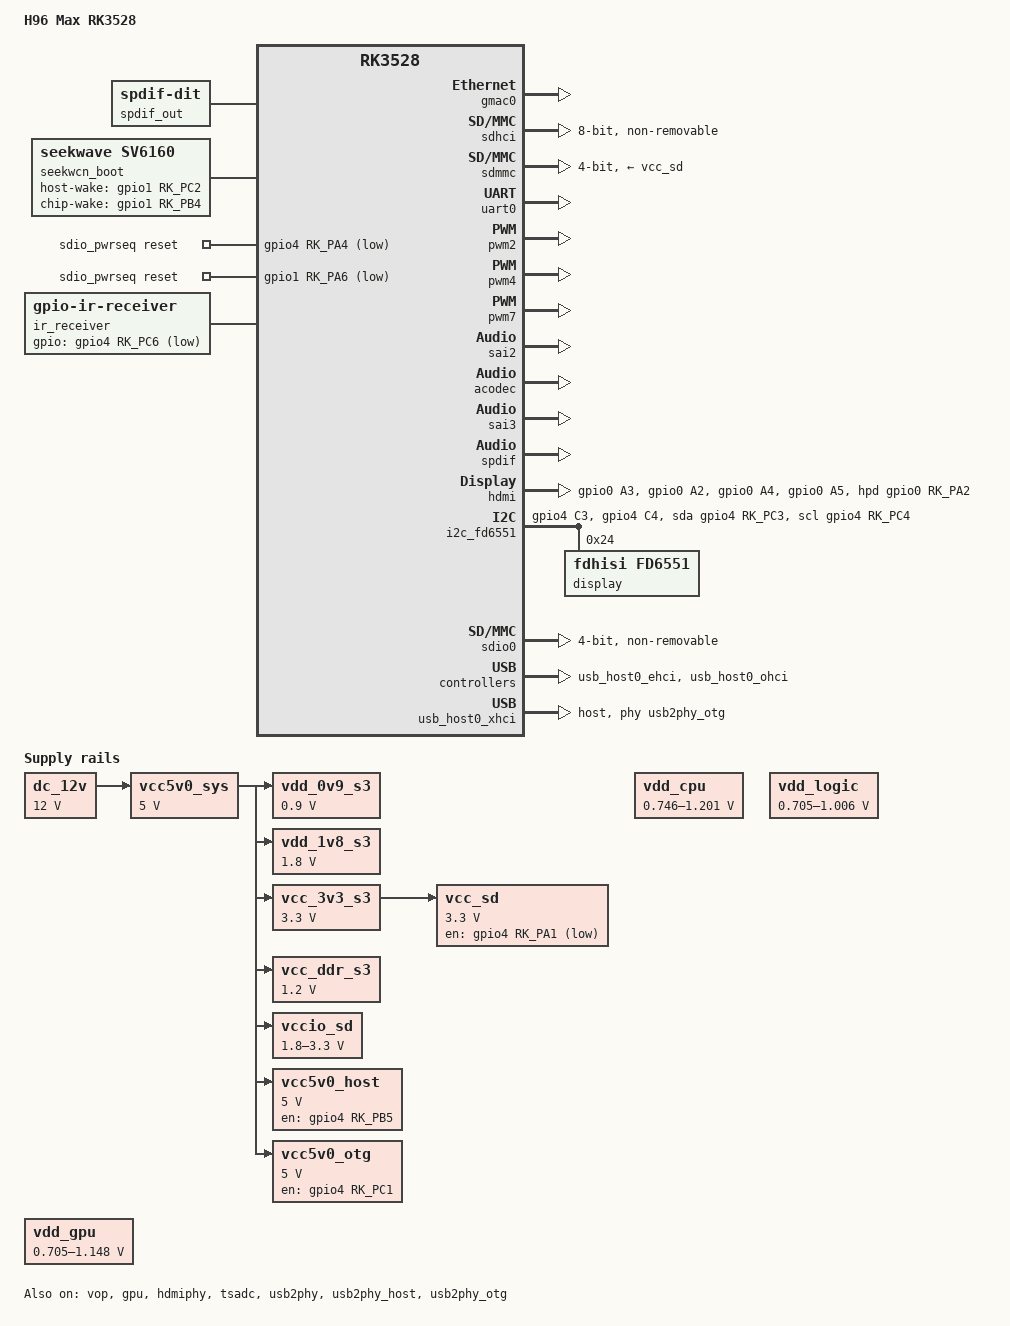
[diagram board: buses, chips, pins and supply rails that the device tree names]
// SPDX-License-Identifier: (GPL-2.0+ OR MIT)
/dts-v1/;

#include "rk3528-h96max-soc.dtsi"
#include <dt-bindings/gpio/gpio.h>
#include <dt-bindings/leds/common.h>

/ {
	model = "H96 Max RK3528";
	compatible = "h96,h96max-rk3528", "rockchip,rk3528";

	aliases {
		ethernet0 = &gmac0;
		mmc0 = &sdmmc;
		serial0 = &uart0;
	};

	chosen {
		stdout-path = "serial0:1500000n8";
	};

	analog-sound {
		compatible = "simple-audio-card";
		simple-audio-card,name = "H96 Max Analog";
		simple-audio-card,format = "i2s";
		simple-audio-card,mclk-fs = <256>;
		simple-audio-card,bitclock-master = <&analog_sound_cpu>;
		simple-audio-card,frame-master = <&analog_sound_cpu>;

		analog_sound_cpu: simple-audio-card,cpu {
			sound-dai = <&sai2>;
		};

		simple-audio-card,codec {
			sound-dai = <&acodec>;
		};
	};

	hdmi-sound {
		compatible = "simple-audio-card";
		simple-audio-card,name = "H96 Max HDMI";
		simple-audio-card,format = "i2s";
		simple-audio-card,mclk-fs = <256>;
		simple-audio-card,bitclock-master = <&hdmi_sound_cpu>;
		simple-audio-card,frame-master = <&hdmi_sound_cpu>;

		hdmi_sound_cpu: simple-audio-card,cpu {
			sound-dai = <&sai3>;
			dai-tdm-slot-num = <2>;
			dai-tdm-slot-width = <32>;
		};

		simple-audio-card,codec {
			sound-dai = <&hdmi>;
		};
	};

	spdif_out: spdif-out {
		compatible = "linux,spdif-dit";
		#sound-dai-cells = <0>;
	};

	spdif-sound {
		compatible = "simple-audio-card";
		simple-audio-card,name = "H96 Max SPDIF";
		simple-audio-card,mclk-fs = <128>;

		simple-audio-card,cpu {
			sound-dai = <&spdif>;
		};

		simple-audio-card,codec {
			sound-dai = <&spdif_out>;
		};
	};

	dc_12v: regulator-dc-12v {
		compatible = "regulator-fixed";
		regulator-name = "dc_12v";
		regulator-always-on;
		regulator-boot-on;
		regulator-min-microvolt = <12000000>;
		regulator-max-microvolt = <12000000>;
	};

	vcc5v0_sys: regulator-vcc5v0-sys {
		compatible = "regulator-fixed";
		regulator-name = "vcc5v0_sys";
		regulator-always-on;
		regulator-boot-on;
		regulator-min-microvolt = <5000000>;
		regulator-max-microvolt = <5000000>;
		vin-supply = <&dc_12v>;
	};

	vdd_0v9_s3: regulator-vdd-0v9-s3 {
		compatible = "regulator-fixed";
		regulator-name = "vdd_0v9_s3";
		regulator-always-on;
		regulator-boot-on;
		regulator-min-microvolt = <900000>;
		regulator-max-microvolt = <900000>;
		vin-supply = <&vcc5v0_sys>;
	};

	vdd_1v8_s3: regulator-vdd-1v8-s3 {
		compatible = "regulator-fixed";
		regulator-name = "vdd_1v8_s3";
		regulator-always-on;
		regulator-boot-on;
		regulator-min-microvolt = <1800000>;
		regulator-max-microvolt = <1800000>;
		vin-supply = <&vcc5v0_sys>;
	};

	vcc_3v3_s3: regulator-vcc-3v3-s3 {
		compatible = "regulator-fixed";
		regulator-name = "vcc_3v3_s3";
		regulator-always-on;
		regulator-boot-on;
		regulator-min-microvolt = <3300000>;
		regulator-max-microvolt = <3300000>;
		vin-supply = <&vcc5v0_sys>;
	};

	vcc_ddr_s3: regulator-vcc-ddr-s3 {
		compatible = "regulator-fixed";
		regulator-name = "vcc_ddr_s3";
		regulator-always-on;
		regulator-boot-on;
		regulator-min-microvolt = <1200000>;
		regulator-max-microvolt = <1200000>;
		vin-supply = <&vcc5v0_sys>;
	};

	/*
	 * H96 PWM regulators.
	 *
	 * Keep regulator-init-microvolt absent during initial bring-up.
	 * The inverse duty-cycle mapping is required by the mainline
	 * Rockchip PWM implementation.
	 */
	vdd_cpu: regulator-vdd-cpu {
		compatible = "pwm-regulator";
		pwms = <&pwm7 0 5000 1>;
		pwm-dutycycle-range = <100 0>;
		regulator-name = "vdd_cpu";
		regulator-min-microvolt = <746000>;
		regulator-max-microvolt = <1201000>;
		regulator-settling-time-up-us = <250>;
		regulator-always-on;
		regulator-boot-on;
	};

	vdd_logic: regulator-vdd-logic {
		compatible = "pwm-regulator";
		pwms = <&pwm2 0 5000 1>;
		pwm-dutycycle-range = <100 0>;
		regulator-name = "vdd_logic";
		regulator-min-microvolt = <705000>;
		regulator-max-microvolt = <1006000>;
		regulator-settling-time-up-us = <250>;
		regulator-always-on;
		regulator-boot-on;
	};

	vdd_gpu: regulator-vdd-gpu {
		compatible = "pwm-regulator";
		pwms = <&pwm4 0 5000 1>;
		pwm-dutycycle-range = <100 0>;
		regulator-name = "vdd_gpu";
		regulator-min-microvolt = <705000>;
		regulator-max-microvolt = <1148000>;
		regulator-settling-time-up-us = <250>;
		regulator-always-on;
		regulator-boot-on;
	};

	vccio_sd: regulator-vccio-sd {
		compatible = "regulator-gpio";
		regulator-name = "vccio_sd";
		regulator-min-microvolt = <1800000>;
		regulator-max-microvolt = <3300000>;
		gpios = <&gpio4 RK_PB6 GPIO_ACTIVE_HIGH>;
		vin-supply = <&vcc5v0_sys>;
		states = <1800000 0x0
			  3300000 0x1>;
	};

	vcc_sd: regulator-vcc-sd {
		compatible = "regulator-fixed";
		gpio = <&gpio4 RK_PA1 GPIO_ACTIVE_LOW>;
		regulator-name = "vcc_sd";
		regulator-min-microvolt = <3300000>;
		regulator-max-microvolt = <3300000>;
		vin-supply = <&vcc_3v3_s3>;
	};

	display_subsystem: display-subsystem {
		compatible = "rockchip,display-subsystem";
		ports = <&vop_out>;
	};
};

/* H96 CPU rail is PWM7, not the HT2 PWM1 assignment. */
&cpu0 {
	cpu-supply = <&vdd_cpu>;
};

&cpu1 {
	cpu-supply = <&vdd_cpu>;
};

&cpu2 {
	cpu-supply = <&vdd_cpu>;
};

&cpu3 {
	cpu-supply = <&vdd_cpu>;
};

/* H96 Ethernet uses the integrated RMII MAC/PHY path. */
&gmac0 {
	status = "okay";
};

&gmac1 {
	status = "disabled";
};

/*
 * Internal eMMC, enabled for read-only dumps. Plain high-speed mode only:
 * the 1.8 V I/O rail is not described, so HS200/HS400 stay off.
 */
&sdhci {
	bus-width = <8>;
	cap-mmc-highspeed;
	max-frequency = <52000000>;
	no-sd;
	no-sdio;
	non-removable;
	status = "okay";
};

&sdmmc {
	bus-width = <4>;
	cap-mmc-highspeed;
	cap-sd-highspeed;
	disable-wp;
	max-frequency = <50000000>;
	vqmmc-supply = <&vccio_sd>;
	vmmc-supply = <&vcc_sd>;

	/delete-property/ sd-uhs-sdr104;
	/delete-property/ sd-uhs-sdr50;
	/delete-property/ sd-uhs-sdr25;
	/delete-property/ sd-uhs-sdr12;

	status = "okay";
};

/* Serial console inherited from the H96/HT2 board configuration. */
&uart0 {
	pinctrl-names = "default";
	pinctrl-0 = <&uart0m0_xfer>;
	status = "okay";
};

/* Preserve the known H96 PWM routing. */
&pwm0 {
	status = "disabled";
};

&pwm1 {
	status = "disabled";
};

&pwm2 {
	status = "okay";
};

&pwm3 {
	status = "disabled";
};

&pwm4 {
	status = "okay";
};

&pwm7 {
	status = "okay";
};

/* Mainline RK3528 display pipeline. */
&vop {
	status = "okay";
};

&gpu {
	mali-supply = <&vdd_gpu>;
	status = "okay";
};

&sai2 {
	status = "okay";
};

&acodec {
	pa-ctl-gpios = <&gpio0 RK_PA0 GPIO_ACTIVE_HIGH>;
	status = "okay";
};

&sai3 {
	status = "okay";
};

&spdif {
	pinctrl-names = "default";
	pinctrl-0 = <&spdifm0_pins>;
	status = "okay";
};

/*
 * GPIO0_A2 is HPD in the original Android DTB.
 * Keep it muxed as GPIO; the RK3528 HDMI driver reads it and mirrors
 * the state into VO GRF sink-detect.
 */
&pinctrl {
	hdmi {
		hdmi_gpio_hpd_pins: hdmi-gpio-hpd-pins {
			rockchip,pins =
				<0 RK_PA3 1 &pcfg_pull_none>,
				<0 RK_PA2 0 &pcfg_pull_none>,
				<0 RK_PA4 1 &pcfg_pull_none>,
				<0 RK_PA5 1 &pcfg_pull_none>;
		};
	};
};

&hdmi {
	avdd-0v9-supply = <&vdd_0v9_s3>;
	avdd-1v8-supply = <&vdd_1v8_s3>;
	hpd-gpios = <&gpio0 RK_PA2 GPIO_ACTIVE_HIGH>;
	pinctrl-names = "default";
	pinctrl-0 = <&hdmi_gpio_hpd_pins>;
	status = "okay";
};

&hdmiphy {
	status = "okay";
};

/* Enable the RK3528 thermal sensor and hardware thermal shutdown. */
&tsadc {
	status = "okay";
};


/*
 * SeekWave SV6160 / EA6521QF combo chip bootstrap.
 * The chip enable (GPIO1_A6) belongs to the SDIO power sequence below.
 * The chip must be powered before the MMC core scans the bus.
 */
/ {
	seekwcn_boot: seekwcn_boot {
		compatible = "seekwave,sv6160";
		dma_type = <1>; /* ADMA */
		pinctrl-names = "default";
		pinctrl-0 = <&seekwcn_host_wake>, <&seekwcn_chip_wake>;
		host-wake-gpios = <&gpio1 RK_PC2 GPIO_ACTIVE_HIGH>;
		chip-wake-gpios = <&gpio1 RK_PB4 GPIO_ACTIVE_HIGH>;
		status = "okay";
	};
};

/*
 * The Linux 6.1 image works only with the stock SDIO power sequence:
 * GPIO4_A4 reset line and the 32 kHz clock on GPIO1_C3.
 */
&pinctrl {
	seekwcn {
		seekwcn_host_wake: seekwcn-host-wake {
			rockchip,pins = <1 RK_PC2 RK_FUNC_GPIO &pcfg_pull_down>;
		};

		seekwcn_chip_wake: seekwcn-chip-wake {
			rockchip,pins = <1 RK_PB4 RK_FUNC_GPIO &pcfg_pull_none>;
		};
	};

	sdio-pwrseq {
		wifi_enable_h: wifi-enable-h {
			rockchip,pins = <4 RK_PA4 RK_FUNC_GPIO &pcfg_pull_none>;
		};
	};
};

&{/} {
	sdio_pwrseq: sdio-pwrseq {
		compatible = "mmc-pwrseq-simple";
		pinctrl-names = "default";
		pinctrl-0 = <&wifi_enable_h>, <&clkm1_32k_out>;
		reset-gpios = <&gpio4 RK_PA4 GPIO_ACTIVE_LOW>,
			      <&gpio1 RK_PA6 GPIO_ACTIVE_LOW>;
		post-power-on-delay-ms = <100>;
	};
};

/* SDIO0 at 0xffc10000; keep the inherited RK3528 bus pinctrl groups. */
&sdio0 {
	mmc-pwrseq = <&sdio_pwrseq>;
	bus-width = <4>;
	max-frequency = <50000000>;
	cap-sdio-irq;
	keep-power-in-suspend;
	non-removable;
	no-sd;
	no-mmc;
	disable-wp;
	/delete-property/ sd-uhs-sdr104;
	/delete-property/ sd-uhs-sdr50;
	/delete-property/ sd-uhs-sdr25;
	/delete-property/ sd-uhs-sdr12;
	status = "okay";
};

/* USB 2.0 ports. Supplies are the stock vcc5v0_host and vcc5v0_otg GPIOs. */
&pinctrl {
	usb {
		usb_host_en: usb-host-en {
			rockchip,pins = <4 RK_PB5 RK_FUNC_GPIO &pcfg_pull_none>;
		};

		usb_otg_en: usb-otg-en {
			rockchip,pins = <4 RK_PC1 RK_FUNC_GPIO &pcfg_pull_none>;
		};
	};
};

&{/} {
	vcc5v0_host: regulator-vcc5v0-host {
		compatible = "regulator-fixed";
		regulator-name = "vcc5v0_host";
		regulator-min-microvolt = <5000000>;
		regulator-max-microvolt = <5000000>;
		enable-active-high;
		gpio = <&gpio4 RK_PB5 GPIO_ACTIVE_HIGH>;
		pinctrl-names = "default";
		pinctrl-0 = <&usb_host_en>;
		regulator-always-on;
		regulator-boot-on;
		vin-supply = <&vcc5v0_sys>;
	};

	vcc5v0_otg: regulator-vcc5v0-otg {
		compatible = "regulator-fixed";
		regulator-name = "vcc5v0_otg";
		regulator-min-microvolt = <5000000>;
		regulator-max-microvolt = <5000000>;
		enable-active-high;
		gpio = <&gpio4 RK_PC1 GPIO_ACTIVE_HIGH>;
		pinctrl-names = "default";
		pinctrl-0 = <&usb_otg_en>;
		regulator-always-on;
		regulator-boot-on;
		vin-supply = <&vcc5v0_sys>;
	};
};

&usb2phy {
	status = "okay";
};

&usb2phy_host {
	phy-supply = <&vcc5v0_host>;
	status = "okay";
};

&usb2phy_otg {
	phy-supply = <&vcc5v0_otg>;
	status = "okay";
};

&usb_host0_ehci {
	status = "okay";
};

&usb_host0_ohci {
	status = "okay";
};

&usb_host0_xhci {
	dr_mode = "host";
	maximum-speed = "high-speed";
	phys = <&usb2phy_otg>;
	phy-names = "usb2-phy";
	status = "okay";
};

/*
 * Front panel. Pins come from the stock Android DT:
 * fd655_dev clk GPIO4_C3, dat GPIO4_C4; IR receiver on GPIO4_C6 (pwm3_m0).
 */
&pinctrl {
	frontpanel {
		fd6551_pins: fd6551-pins {
			rockchip,pins = <4 RK_PC3 RK_FUNC_GPIO &pcfg_pull_up>,
					<4 RK_PC4 RK_FUNC_GPIO &pcfg_pull_up>;
		};

		ir_rx_pin: ir-rx-pin {
			rockchip,pins = <4 RK_PC6 RK_FUNC_GPIO &pcfg_pull_none>;
		};
	};
};

&{/} {
	i2c_fd6551: i2c-fd6551 {
		compatible = "i2c-gpio";
		pinctrl-names = "default";
		pinctrl-0 = <&fd6551_pins>;
		sda-gpios = <&gpio4 RK_PC3 GPIO_ACTIVE_HIGH>;
		scl-gpios = <&gpio4 RK_PC4 GPIO_ACTIVE_HIGH>;
		i2c-gpio,sda-output-only;
		i2c-gpio,scl-output-only;
		i2c-gpio,delay-us = <20>;
		#address-cells = <1>;
		#size-cells = <0>;

		/* Grid 0 holds the icons; grids 1-4 hold digits, rightmost first. */
		display@24 {
			compatible = "fdhisi,fd6551";
			reg = <0x24>;

			digits {
				#address-cells = <1>;
				#size-cells = <0>;

				digit@0 {
					reg = <0>;
					segments = <4 0>, <4 1>, <4 2>, <4 3>, <4 4>, <4 5>, <4 6>;
				};
				digit@1 {
					reg = <1>;
					segments = <3 0>, <3 1>, <3 2>, <3 3>, <3 4>, <3 5>, <3 6>;
				};
				digit@2 {
					reg = <2>;
					segments = <2 0>, <2 1>, <2 2>, <2 3>, <2 4>, <2 5>, <2 6>;
				};
				digit@3 {
					reg = <3>;
					segments = <1 0>, <1 1>, <1 2>, <1 3>, <1 4>, <1 5>, <1 6>;
				};
			};

			leds {
				#address-cells = <2>;
				#size-cells = <0>;

				led@0,0 {
					reg = <0 0>;
					function = LED_FUNCTION_ALARM;
				};
				led@0,1 {
					reg = <0 1>;
					function = LED_FUNCTION_USB;
				};
				led@0,2 {
					reg = <0 2>;
					function = "pause";
				};
				led@0,3 {
					reg = <0 3>;
					function = "play";
				};
				led@0,4 {
					reg = <0 4>;
					function = "colon";
				};
				led@0,5 {
					reg = <0 5>;
					function = LED_FUNCTION_LAN;
				};
				led@0,6 {
					reg = <0 6>;
					function = LED_FUNCTION_WLAN;
				};
			};
		};
	};

	ir_receiver: ir-receiver {
		compatible = "gpio-ir-receiver";
		pinctrl-names = "default";
		pinctrl-0 = <&ir_rx_pin>;
		gpios = <&gpio4 RK_PC6 GPIO_ACTIVE_LOW>;
		linux,rc-map-name = "rc-empty";
	};
};
